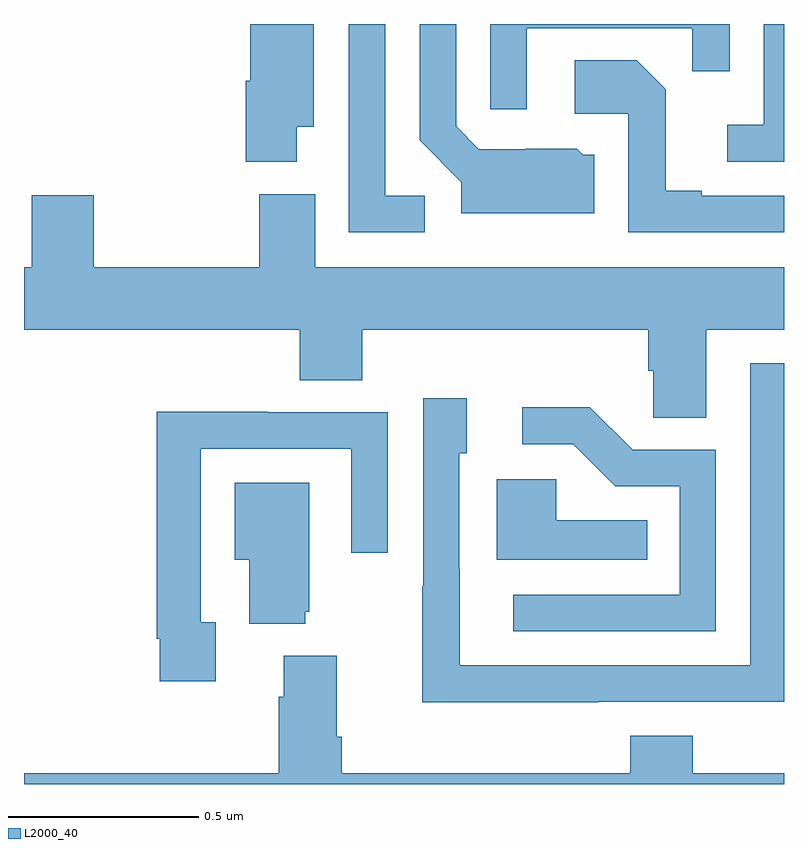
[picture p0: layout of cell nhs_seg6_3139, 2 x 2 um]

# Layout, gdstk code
import gdstk
lib = gdstk.Library(unit=1e-6, precision=1e-09)
def P(c, l, *ps):  # polygons
    for p in ps: c.add(gdstk.Polygon(p, *l))
L2000_40 = (2000, 40)

nhs_seg6_3139 = lib.new_cell('nhs_seg6_3139')
P(nhs_seg6_3139, L2000_40, [(153.718,921.23),(153.763,921.23),(153.763,921.5),(153.596,921.5),(153.596,921.351),(153.584,921.351),(153.584,921.137),(153.718,921.137)],
  [(155,921.5),(154.947,921.5),(154.947,921.235),(154.851,921.235),(154.851,921.138),(155,921.138)],
  [(154.501,921.156),(154.47,921.156),(154.454,921.172),(154.32,921.172),(154.32,921.171),(154.197,921.171),(154.137,921.231),(154.137,921.5),(154.041,921.5),(154.041,921.194),(154.151,921.084),(154.151,921.002),(154.501,921.002)],
  [(154.054,921.048),(153.951,921.048),(153.951,921.5),(153.855,921.5),(153.855,920.952),(154.054,920.952)],
  [(154.323,921.489),(154.759,921.489),(154.759,921.376),(154.857,921.376),(154.857,921.5),(154.227,921.5),(154.227,921.276),(154.323,921.276)],
  [(155,921.048),(154.783,921.048),(154.783,921.061),(154.689,921.061),(154.689,921.328),(154.613,921.404),(154.449,921.404),(154.449,921.264),(154.59,921.264),(154.59,920.952),(155,920.952)],
  [(154.795,920.696),(155,920.696),(155,920.86),(153.766,920.86),(153.766,921.052),(153.619,921.052),(153.619,920.86),(153.184,920.86),(153.184,921.049),(153.02,921.049),(153.02,920.86),(153,920.86),(153,920.696),(153.725,920.696),(153.725,920.563),(153.89,920.563),(153.89,920.696),(154.643,920.696),(154.643,920.587),(154.656,920.587),(154.656,920.464),(154.795,920.464)],
  [(154.511,919.716),(155,919.716),(155,920.607),(154.911,920.607),(154.911,919.812),(154.147,919.812),(154.147,920.066),(154.146,920.066),(154.146,920.37),(154.165,920.37),(154.165,920.515),(154.05,920.515),(154.05,920.021),(154.048,920.021),(154.048,919.715),(154.511,919.715)],
  [(154.821,920.379),(154.602,920.379),(154.489,920.492),(154.311,920.492),(154.311,920.394),(154.445,920.394),(154.556,920.283),(154.725,920.283),(154.725,919.998),(154.287,919.998),(154.287,919.902),(154.821,919.902)],
  [(153.505,919.926),(153.465,919.926),(153.465,920.382),(153.861,920.382),(153.861,920.109),(153.957,920.109),(153.957,920.478),(153.641,920.478),(153.641,920.48),(153.349,920.48),(153.349,919.882),(153.357,919.882),(153.357,919.77),(153.505,919.77)],
  [(154.64,920.194),(154.401,920.194),(154.401,920.302),(154.244,920.302),(154.244,920.09),(154.64,920.09)],
  [(153.74,919.953),(153.751,919.953),(153.751,920.293),(153.554,920.293),(153.554,920.09),(153.593,920.09),(153.593,919.922),(153.74,919.922)],
  [(153.823,919.624),(153.823,919.837),(153.683,919.837),(153.683,919.73),(153.671,919.73),(153.671,919.528),(153,919.528),(153,919.5),(155,919.5),(155,919.528),(154.76,919.528),(154.76,919.627),(154.595,919.627),(154.595,919.528),(153.836,919.528),(153.836,919.624)])

lib.write_gds('nhs_seg6_3139.gds')
